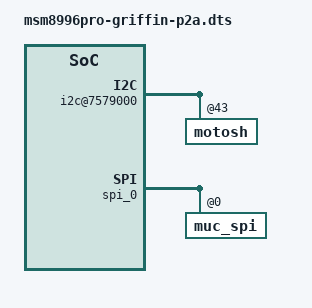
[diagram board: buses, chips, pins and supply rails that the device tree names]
/* Copyright (c) 2015, Motorola Mobility Inc. All rights reserved.
 *
 * This program is free software; you can redistribute it and/or modify
 * it under the terms of the GNU General Public License version 2 and
 * only version 2 as published by the Free Software Foundation.
 *
 * This program is distributed in the hope that it will be useful,
 * but WITHOUT ANY WARRANTY; without even the implied warranty of
 * MERCHANTABILITY or FITNESS FOR A PARTICULAR PURPOSE.  See the
 * GNU General Public License for more details.
 */


/dts-v1/;

#include "msm8996pro-griffin.dtsi"

/ {
	qcom,board-id = <0x45 0x82A0>;
};

&soc {
	/* SensorHub Bus */
	i2c@7579000 {
		motosh@43 {
			mag_config = <1>;     /* Magnetometer config value */
			mag_orient = <2>;     /* Mag Orientation value */
		};
	};
};

&spi_0 {
	muc_spi: muc_spi@0 {
		interrupts = <34 0>;
	};
};

&mdss_hdmi_hpd_active {
	mux {
		pins = "gpio79";
	};

	config {
		pins = "gpio79";
	};
};

&mdss_hdmi_hpd_suspend {
	mux {
		pins = "gpio79";
	};

	config {
		pins = "gpio79";
	};
};

&mdss_hdmi_tx {
	qcom,hdmi-tx-hpd = <&tlmm 79 0>;
};

&muc_attach {
	config {
		pins = "gpio35", "gpio143", "gpio34";
		bias-disable;
	};
};

&muc {
	gpios = <&tlmm 73 1>,   /* gpio_muc_det_n,    input */
		<&tlmm 35 0>,   /* gpio_muc_bplus_en, output-low */
		<&tlmm 34 1>,   /* gpio_muc_int_n,    input */
		<&tlmm 74 2>,   /* gpio_muc_wake_n,   output-high */
		<&tlmm 82 1>,   /* gpio_muc_rdy_n,    input */
		<&tlmm 143 0>,  /* gpio_muc_ff,       output-low */
		<&tlmm 0 0>,    /* gpio_muc_spi_mosi, output-low */
		<&tlmm 1 1>,    /* gpio_muc_spi_miso, input */
		<0>,            /* gpio_muc_bplus_iset, cs */
		<0>,            /* gpio_muc_bplus_discharg, cs */
		<&pmi8994_gpios 10 1>, /* gpio_muc_bplus_fault_n, input */
		<&tlmm 3 1>;    /* gpio_muc_clk,      input */

	mmi,muc-ctrl-en-seq =  <1 1 100>;
	mmi,muc-ctrl-dis-seq = <1 0 505>;
};
